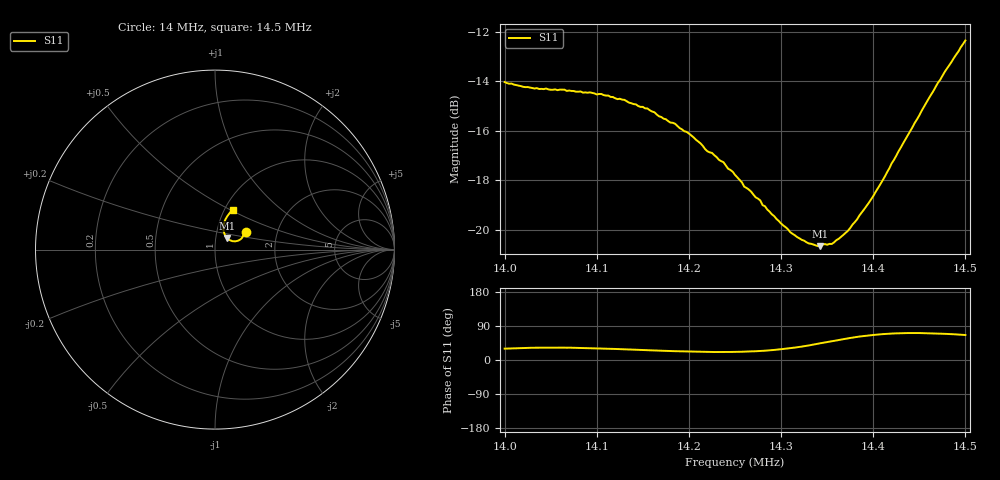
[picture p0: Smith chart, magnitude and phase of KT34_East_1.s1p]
# MHz S RI R 50
! S-Parameters data
! Freq  reS11  imS11
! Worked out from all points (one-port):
!   201 points, 14 MHz to 14.5 MHz, reference 50 ohm
!   lowest |S11| = -20.7 dB at 14.342 MHz (marker M1), VSWR 1.20, Z = 56.6 + j7.37 ohm
!   |S11| at or under -10 dB: start of sweep to end of sweep
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14  0.1723 0.0992
14.0325  0.1629 0.1033
14.0625  0.1617 0.1033
14.105  0.1623 0.095
14.125  0.1615 0.0881
14.155  0.158 0.077
14.1875  0.1491 0.0637
14.205  0.1426 0.0576
14.22  0.1343 0.0522
14.225  0.1334 0.0517
14.2325  0.1293 0.0497
14.2375  0.1278 0.0493
14.2425  0.124 0.0479
14.25  0.1203 0.0469
14.2575  0.1158 0.0463
14.26  0.1133 0.046
14.2775  0.1049 0.0463
14.28  0.1023 0.046
14.3125  0.0833 0.052
14.33  0.0736 0.0583
14.3425  0.0665 0.0646
14.355  0.0609 0.0711
14.375  0.0533 0.0856
14.4  0.0475 0.1069
14.4375  0.0502 0.1468
14.465  0.0639 0.1792
14.4825  0.0783 0.2001
14.5  0.0984 0.2202
